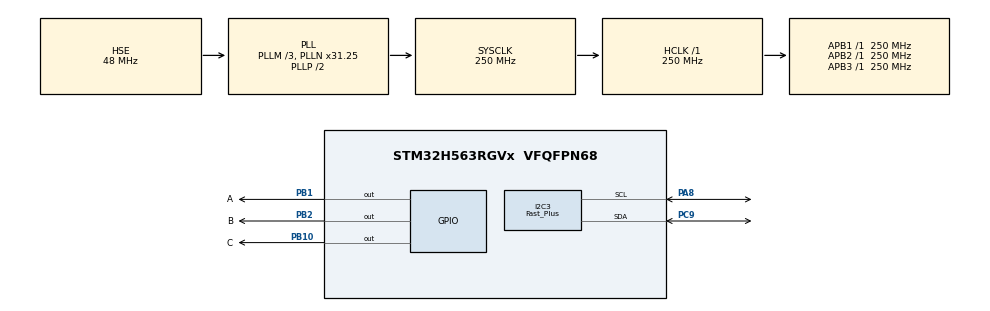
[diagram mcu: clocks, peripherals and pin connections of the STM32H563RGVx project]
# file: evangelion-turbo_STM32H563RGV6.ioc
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BOOTPATH.BootPathName=LEGACY
BOOTPATH.UserSelectedBootPath=LEGACY
CORTEX_M33_NS.userName=CORTEX_M33
I2C3.I2C_Speed_Mode=I2C_Fast_Plus
I2C3.Timing=0x00C035A6
Mcu.Family=STM32H5
Mcu.Name=STM32H563RGVx
Mcu.Package=VFQFPN68
NVIC.I2C3_ER_IRQn=true\:0\:0\:false\:false\:true\:true\:true\:true
NVIC.I2C3_EV_IRQn=true\:0\:0\:false\:false\:true\:true\:true\:true
NVIC.PriorityGroup=NVIC_PRIORITYGROUP_4
PA13(JTMS/SWDIO).Mode=Serial_Wire
PA13(JTMS/SWDIO).Signal=DEBUG_JTMS-SWDIO
PA14(JTCK/SWCLK).Mode=Serial_Wire
PA14(JTCK/SWCLK).Signal=DEBUG_JTCK-SWCLK
PA8.Mode=I2C
PA8.Signal=I2C3_SCL
PB1.GPIO_Label=A
PB1.Signal=GPIO_Output
PB10.GPIO_Label=C
PB10.Signal=GPIO_Output
PB2.GPIO_Label=B
PB2.Signal=GPIO_Output
PC9.Mode=I2C
PC9.Signal=I2C3_SDA
PH0-OSC_IN(PH0).Mode=HSE-External-Oscillator
PH0-OSC_IN(PH0).Signal=RCC_OSC_IN
PH1-OSC_OUT(PH1).Mode=HSE-External-Oscillator
PH1-OSC_OUT(PH1).Signal=RCC_OSC_OUT
ProjectManager.HeapSize=0x200
ProjectManager.StackSize=0x400
ProjectManager.TargetToolchain=STM32CubeIDE
RCC.ADCFreq_Value=250000000
RCC.AHBFreq_Value=250000000
RCC.APB1Freq_Value=250000000
RCC.APB1TimFreq_Value=250000000
RCC.APB2Freq_Value=250000000
RCC.APB2TimFreq_Value=250000000
RCC.APB3Freq_Value=250000000
RCC.CSI_VALUE=4000000
RCC.CortexFreq_Value=250000000
RCC.EPOD_VALUE=48000000
RCC.EnbaleCSS=true
RCC.HCLKFreq_Value=250000000
RCC.HSE_VALUE=48000000
RCC.HSI48_VALUE=48000000
RCC.HSI_VALUE=64000000
RCC.LSE_VALUE=32768
RCC.LSIRC_VALUE=32000
RCC.PLL2FRACN=0
RCC.PLL2Source=RCC_PLL2_SOURCE_HSE
RCC.PLL3FRACN=0
RCC.PLL3Source=RCC_PLL3_SOURCE_HSE
RCC.PLLFRACN=2048
RCC.PLLM=3
RCC.PLLN=31
RCC.PLLSourceVirtual=RCC_PLL1_SOURCE_HSE
RCC.SYSCLKFreq_VALUE=250000000
RCC.SYSCLKSource=RCC_SYSCLKSOURCE_PLLCLK
RCC.USBFreq_Value=48000000
RCC.VCOOutputFreq_Value=500000000
VP_BOOTPATH_VS_BOOTPATH.Mode=BP_Activate
VP_CORTEX_M33_NS_VS_Hclk.Mode=Hclk_Mode
VP_MEMORYMAP_VS_MEMORYMAP.Mode=CurAppReg
VP_PWR_VS_LPOM.Mode=PowerOptimisation
VP_PWR_VS_SECSignals.Mode=Security/Privilege
board=custom

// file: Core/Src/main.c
/* USER CODE BEGIN Header */
/**
  ******************************************************************************
  * @file           : main.c
  * @brief          : Main program body
  ******************************************************************************
  * @attention
  *
  * Copyright (c) 2026 STMicroelectronics.
  * All rights reserved.
  *
  * This software is licensed under terms that can be found in the LICENSE file
  * in the root directory of this software component.
  * If no LICENSE file comes with this software, it is provided AS-IS.
  *
  ******************************************************************************
  */
/* USER CODE END Header */
#include "main.h"

/* USER CODE BEGIN Includes */
#include "fonts.h"
#include "ssd1306.h"
#include "stdio.h"
#include "MY_INCLUDES.h"

extern DMA_HandleTypeDef hdma_usart1_rx;
extern DMA_HandleTypeDef hdma_usart2_rx;
extern DMA_HandleTypeDef hdma_usart3_rx;
extern DMA_HandleTypeDef hdma_i2c2_rx;
/* USER CODE END Includes */

I2C_HandleTypeDef hi2c3;

/* USER CODE BEGIN PV */
volatile uint32_t dupa = 67;
volatile int16_t ERROR_FLAG = 0;
/* USER CODE END PV */

void SystemClock_Config(void);
static void MX_GPIO_Init(void);
static void MX_I2C3_Init(void);
/* USER CODE BEGIN PFP */
//static void COOKED(uint8_t error_code);
/* USER CODE END PFP */

int main(void)
{

  /* MCU Configuration--------------------------------------------------------*/

  /* Reset of all peripherals, Initializes the Flash interface and the Systick. */
  HAL_Init();

  /* Configure the system clock */
  SystemClock_Config();

  /* Initialize all configured peripherals */
  MX_GPIO_Init();
  MX_I2C3_Init();
  /* USER CODE BEGIN 2 */
  /*
  ssd1306_Init();
  ssd1306_ResetOrientation();
  ssd1306_SetColor(White);
  ssd1306_Clear();
  _ssd1306_WriteInTheMiddle("ROBOILO", 0, BIG);
  _ssd1306_WriteInTheMiddle("evangelion++!", 22, SMALL);
  ssd1306_UpdateScreen();
  */
  /* USER CODE END 2 */

  /* Infinite loop */
  /* USER CODE BEGIN WHILE */
  while (1)
  {
	  dupa=dupa+1;
	  HAL_GPIO_WritePin(GPIOB, A_Pin|B_Pin|C_Pin, GPIO_PIN_SET);
	  HAL_Delay(100);
	  HAL_GPIO_WritePin(GPIOB, A_Pin|B_Pin|C_Pin, GPIO_PIN_RESET);
	  HAL_Delay(100);
    /* USER CODE END WHILE */

  }
}

void SystemClock_Config(void)
{
  RCC_OscInitTypeDef RCC_OscInitStruct = {0};
  RCC_ClkInitTypeDef RCC_ClkInitStruct = {0};

  /** Configure the main internal regulator output voltage
  */
  __HAL_PWR_VOLTAGESCALING_CONFIG(PWR_REGULATOR_VOLTAGE_SCALE0);

  while(!__HAL_PWR_GET_FLAG(PWR_FLAG_VOSRDY)) {}

  /** Initializes the RCC Oscillators according to the specified parameters
  * in the RCC_OscInitTypeDef structure.
  */
  RCC_OscInitStruct.OscillatorType = RCC_OSCILLATORTYPE_HSE;
  RCC_OscInitStruct.HSEState = RCC_HSE_ON;
  RCC_OscInitStruct.PLL.PLLState = RCC_PLL_ON;
  RCC_OscInitStruct.PLL.PLLSource = RCC_PLL1_SOURCE_HSE;
  RCC_OscInitStruct.PLL.PLLM = 3;
  RCC_OscInitStruct.PLL.PLLN = 31;
  RCC_OscInitStruct.PLL.PLLP = 2;
  RCC_OscInitStruct.PLL.PLLQ = 2;
  RCC_OscInitStruct.PLL.PLLR = 2;
  RCC_OscInitStruct.PLL.PLLRGE = RCC_PLL1_VCIRANGE_3;
  RCC_OscInitStruct.PLL.PLLVCOSEL = RCC_PLL1_VCORANGE_WIDE;
  RCC_OscInitStruct.PLL.PLLFRACN = 2048;
  if (HAL_RCC_OscConfig(&RCC_OscInitStruct) != HAL_OK)
  {
    Error_Handler();
  }

  /** Initializes the CPU, AHB and APB buses clocks
  */
  RCC_ClkInitStruct.ClockType = RCC_CLOCKTYPE_HCLK|RCC_CLOCKTYPE_SYSCLK
                              |RCC_CLOCKTYPE_PCLK1|RCC_CLOCKTYPE_PCLK2
                              |RCC_CLOCKTYPE_PCLK3;
  RCC_ClkInitStruct.SYSCLKSource = RCC_SYSCLKSOURCE_PLLCLK;
  RCC_ClkInitStruct.AHBCLKDivider = RCC_SYSCLK_DIV1;
  RCC_ClkInitStruct.APB1CLKDivider = RCC_HCLK_DIV1;
  RCC_ClkInitStruct.APB2CLKDivider = RCC_HCLK_DIV1;
  RCC_ClkInitStruct.APB3CLKDivider = RCC_HCLK_DIV1;

  if (HAL_RCC_ClockConfig(&RCC_ClkInitStruct, FLASH_LATENCY_5) != HAL_OK)
  {
    Error_Handler();
  }

  /** Enables the Clock Security System
  */
  HAL_RCC_EnableCSS();

  /** Configure the programming delay
  */
  __HAL_FLASH_SET_PROGRAM_DELAY(FLASH_PROGRAMMING_DELAY_2);
}

static void MX_I2C3_Init(void)
{

  hi2c3.Instance = I2C3;
  hi2c3.Init.Timing = 0x00C035A6;
  hi2c3.Init.OwnAddress1 = 0;
  hi2c3.Init.AddressingMode = I2C_ADDRESSINGMODE_7BIT;
  hi2c3.Init.DualAddressMode = I2C_DUALADDRESS_DISABLE;
  hi2c3.Init.OwnAddress2 = 0;
  hi2c3.Init.OwnAddress2Masks = I2C_OA2_NOMASK;
  hi2c3.Init.GeneralCallMode = I2C_GENERALCALL_DISABLE;
  hi2c3.Init.NoStretchMode = I2C_NOSTRETCH_DISABLE;
  if (HAL_I2C_Init(&hi2c3) != HAL_OK)
  {
    Error_Handler();
  }

  /** Configure Analogue filter
  */
  if (HAL_I2CEx_ConfigAnalogFilter(&hi2c3, I2C_ANALOGFILTER_ENABLE) != HAL_OK)
  {
    Error_Handler();
  }

  /** Configure Digital filter
  */
  if (HAL_I2CEx_ConfigDigitalFilter(&hi2c3, 0) != HAL_OK)
  {
    Error_Handler();
  }

  /** I2C Fast mode Plus enable
  */
  if (HAL_I2CEx_ConfigFastModePlus(&hi2c3, I2C_FASTMODEPLUS_ENABLE) != HAL_OK)
  {
    Error_Handler();
  }

}

static void MX_GPIO_Init(void)
{
  GPIO_InitTypeDef GPIO_InitStruct = {0};

  /* GPIO Ports Clock Enable */
  __HAL_RCC_GPIOH_CLK_ENABLE();
  __HAL_RCC_GPIOB_CLK_ENABLE();
  __HAL_RCC_GPIOC_CLK_ENABLE();
  __HAL_RCC_GPIOA_CLK_ENABLE();

  /*Configure GPIO pin Output Level */
  HAL_GPIO_WritePin(GPIOB, A_Pin|B_Pin|C_Pin, GPIO_PIN_RESET);

  /*Configure GPIO pins : A_Pin B_Pin C_Pin */
  GPIO_InitStruct.Pin = A_Pin|B_Pin|C_Pin;
  GPIO_InitStruct.Mode = GPIO_MODE_OUTPUT_PP;
  GPIO_InitStruct.Pull = GPIO_NOPULL;
  GPIO_InitStruct.Speed = GPIO_SPEED_FREQ_LOW;
  HAL_GPIO_Init(GPIOB, &GPIO_InitStruct);

}

/* USER CODE BEGIN 4 */
/*
void COOKED(uint8_t error_code)
//error flag codes less than 200 has priority and HALT
{
	  //TODO buzzer, oled
	  if(error_code < 200)
	  {
		  ERROR_FLAG = error_code;
		  Error_Handler();
	  }
	  else
	  {
		  ERROR_FLAG = error_code;
	  }
}

void _ssd1306_WriteInTheMiddle(char *text, uint8_t y, uint8_t font)
{
	int8_t x;
	uint8_t textSize = strlen(text);

	if(font == BIG)
	{
		x = (int)(128 - textSize*11)/2;
		if(x < 0)
		{
			text="ERR LENGHT";
			x = 0;
		}
		_ssd1306_SetCursor(x, y);
		ssd1306_WriteString(text, Font_11x18);
	}
	else if(font == SMALL) //max 21chars
	{
		x = (int)(128 - textSize*6)/2;
		if(x < 0)
		{
			text="ERR LENGHT";
			x = 0;
		}
		_ssd1306_SetCursor(x, y);
		ssd1306_WriteString(text, Font_6x8);
	}

}
*/
/* USER CODE END 4 */

void Error_Handler(void)
{
  __disable_irq();
  while (1)
  {
  }
}
